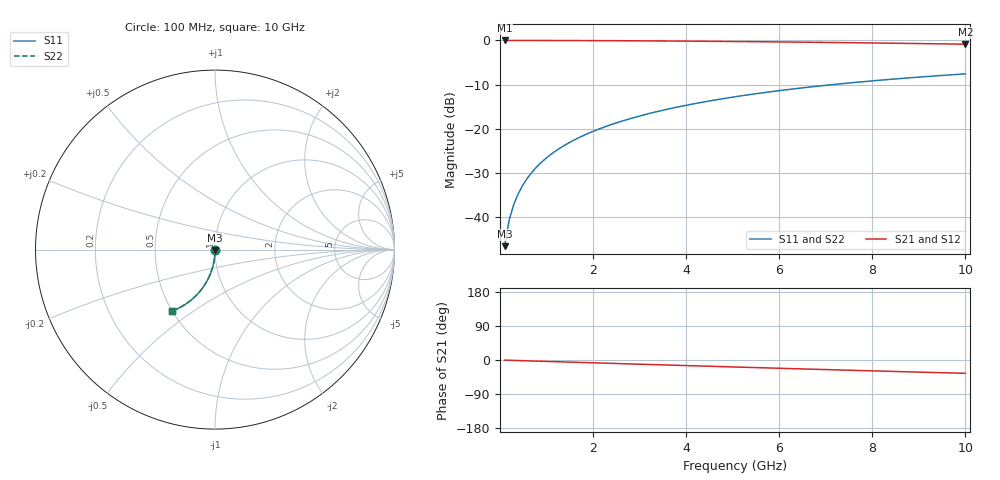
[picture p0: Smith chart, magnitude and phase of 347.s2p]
# Hz S RI R 50.00
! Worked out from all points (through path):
!   100 points, 100 MHz to 10 GHz, reference 50 ohm
!   highest |S21| = 0.00 dB at 100 MHz (marker M1); lowest = -0.8 dB at 10 GHz (marker M2)
!   group delay of S21, straight-line fit = 9.8 ps
!   lowest |S11| = -46.6 dB at 100 MHz (marker M3), VSWR 1.01, Z = 50 - j0.47 ohm
!   |S11| at or under -10 dB: start of sweep to 7.144 GHz
!   |S22| runs from -46.6 to -7.6 dB; largest |S21 - S12| = 0
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1e8  0.0002 -0.0047  0.9997 -0.00645  0.9997 -0.00645  0.0002 -0.0047
2e8  0.000106 -0.00939  0.9996 -0.0129  0.9996 -0.0129  0.000106 -0.00939
3e8  -5.02e-05 -0.0141  0.9995 -0.0194  0.9995 -0.0194  -5.02e-05 -0.0141
4e8  -0.000267 -0.0188  0.9992 -0.0258  0.9992 -0.0258  -0.000267 -0.0188
5e8  -0.000544 -0.0235  0.9989 -0.0323  0.9989 -0.0323  -0.000544 -0.0235
6e8  -0.000882 -0.0282  0.9986 -0.0387  0.9986 -0.0387  -0.000882 -0.0282
7e8  -0.00128 -0.0328  0.9982 -0.0451  0.9982 -0.0451  -0.00128 -0.0328
8e8  -0.00174 -0.0375  0.9977 -0.0516  0.9977 -0.0516  -0.00174 -0.0375
9e8  -0.00226 -0.0422  0.9971 -0.058  0.9971 -0.058  -0.00226 -0.0422
1.1e9  -0.00348 -0.0515  0.9958 -0.0708  0.9958 -0.0708  -0.00348 -0.0515
1.4e9  -0.00575 -0.0654  0.9935 -0.09  0.9935 -0.09  -0.00575 -0.0654
1.8e9  -0.00961 -0.0837  0.9894 -0.1154  0.9894 -0.1154  -0.00961 -0.0837
2.1e9  -0.0131 -0.0973  0.9857 -0.1343  0.9857 -0.1343  -0.0131 -0.0973
2.5e9  -0.0186 -0.1152  0.9799 -0.1592  0.9799 -0.1592  -0.0186 -0.1152
2.9e9  -0.025 -0.1327  0.9732 -0.1838  0.9732 -0.1838  -0.025 -0.1327
3.4e9  -0.0341 -0.154  0.9636 -0.214  0.9636 -0.214  -0.0341 -0.154
4.2e9  -0.0514 -0.1865  0.9453 -0.2607  0.9453 -0.2607  -0.0514 -0.1865
5.1e9  -0.0744 -0.2204  0.921 -0.3107  0.921 -0.3107  -0.0744 -0.2204
5.9e9  -0.0975 -0.2478  0.8965 -0.3525  0.8965 -0.3525  -0.0975 -0.2478
6.7e9  -0.1227 -0.2724  0.8696 -0.3916  0.8696 -0.3916  -0.1227 -0.2724
8.4e9  -0.1817 -0.3147  0.8064 -0.4651  0.8064 -0.4651  -0.1817 -0.3147
1e10  -0.2409 -0.3421  0.7421 -0.5222  0.7421 -0.5222  -0.2409 -0.3421
